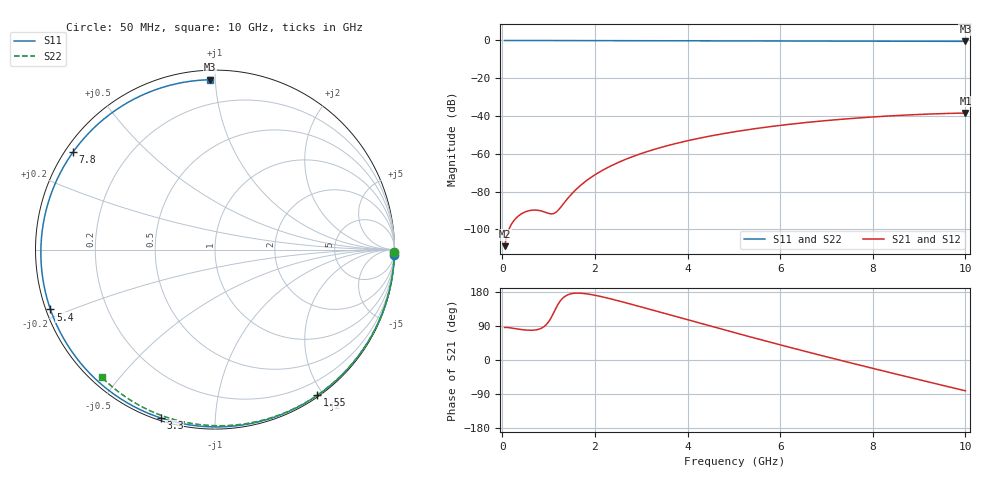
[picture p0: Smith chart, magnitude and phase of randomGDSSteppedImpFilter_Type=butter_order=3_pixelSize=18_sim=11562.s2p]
! freq	dB(S11)	phase(S11)	dB(S12)	phase(S12)
!  dB(S21)	phase(S21)	dB(S22)	phase(S22)
!S-par simulation data
#  GHz  S  DB  R 50
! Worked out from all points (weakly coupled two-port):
!   200 points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, 50 MHz to 10 GHz, reference 50 ohm
!   highest |S21| = -38.40 dB at 10 GHz (marker M1); lowest = -108.8 dB at 50 MHz (marker M2)
!   lowest |S11| = -0.5 dB at 10 GHz (marker M3), VSWR 36.61, Z = 2.65 + j48.4 ohm
!   |S11| at or under -10 dB: nowhere
!   |S22| runs from -0.4 to 0.0 dB; largest |S21 - S12| = 0
!   S11 on the Smith chart (normalised r, x): 50 MHz: 0, -62; 1.55 GHz: 0.02, -1.92; 3.3 GHz: 0.01, -0.73; 5.4 GHz: 0.01, -0.18; 7.8 GHz: 0.02, +0.31; 10 GHz: 0.05, +0.97
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0.05  -0.00 -1.8  -108.82 85.9  -108.82 85.9  -0.00 -0.8
0.4  -0.02 -14.6  -91.92 80.5  -91.92 80.5  -0.01 -6.1
0.75  -0.03 -27.2  -89.79 80.0  -89.79 80.0  -0.01 -11.3
1.15  -0.05 -41.3  -91.05 134.7  -91.05 134.7  -0.02 -17.3
1.55  -0.07 -54.9  -79.86 176.1  -79.86 176.1  -0.03 -23.3
1.75  -0.07 -61.5  -75.44 175.6  -75.44 175.6  -0.03 -26.2
2.05  -0.08 -71.2  -70.32 169.6  -70.32 169.6  -0.04 -30.6
2.4  -0.10 -82.0  -65.72 159.5  -65.72 159.5  -0.05 -35.7
2.85  -0.11 -95.3  -61.12 145.0  -61.12 145.0  -0.05 -42.2
3.3  -0.13 -107.9  -57.49 129.9  -57.49 129.9  -0.06 -48.5
3.4  -0.13 -110.6  -56.77 126.5  -56.77 126.5  -0.07 -49.9
4.25  -0.16 -132.6  -51.73 97.7  -51.73 97.7  -0.09 -61.6
5.05  -0.20 -151.9  -48.17 71.0  -48.17 71.0  -0.11 -72.3
5.4  -0.21 -160.0  -46.87 59.5  -46.87 59.5  -0.12 -76.8
6.05  -0.25 -174.8  -44.78 38.4  -44.78 38.4  -0.15 -85.1
6.7  -0.29 170.6  -43.06 17.8  -43.06 17.8  -0.18 -93.1
7.25  -0.32 158.1  -41.84 0.7  -41.84 0.7  -0.21 -99.8
7.8  -0.36 145.6  -40.81 -16.1  -40.81 -16.1  -0.25 -106.3
8.35  -0.39 132.7  -39.95 -32.6  -39.95 -32.6  -0.29 -112.7
9.2  -0.44 112.1  -38.94 -57.8  -38.94 -57.8  -0.36 -122.5
9.6  -0.46 102.0  -38.62 -69.6  -38.62 -69.6  -0.40 -127.0
10  -0.47 91.8  -38.40 -81.3  -38.40 -81.3  -0.44 -131.5
